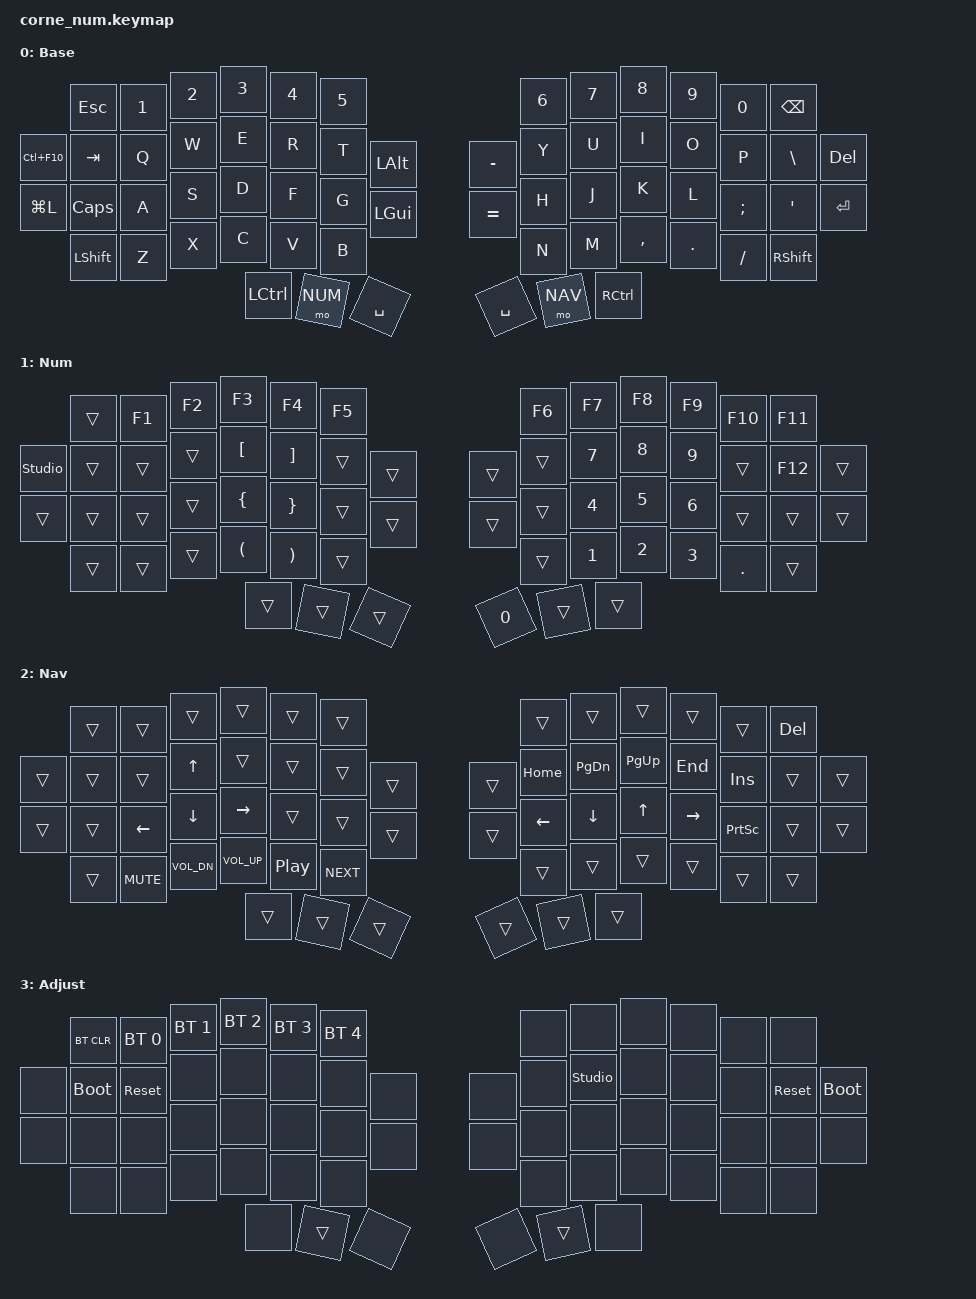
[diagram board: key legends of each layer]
/*
 * Corne Num v6 keymap: 62 keys (left 31, right 31).
 *   Num  (hold left thumb):  F1-F11 on the number row, F12 under F11, numpad on the right hand, brackets on the left
 *   Nav  (hold right thumb): Del on Bksp, arrows on W A S D and H J K L, Home/End/PgUp/PgDn, media on Z-B
 *   Adjust (hold Num + Nav): Bluetooth profiles, clear pairings, bootloader / reset on either half, U = ZMK Studio unlock
 *
 * Base extras: Ctrl+F10 and Win+L in the far-left column.
 *
 * Rows below follow the physical layout: each line is left half then right half.
 */

#include <behaviors.dtsi>
#include <dt-bindings/zmk/keys.h>
#include <dt-bindings/zmk/bt.h>

#define BASE   0
#define NUM    1
#define NAV    2
#define ADJUST 3

/ {
    conditional_layers {
        compatible = "zmk,conditional-layers";
        tri_layer {
            if-layers = <NUM NAV>;
            then-layer = <ADJUST>;
        };
    };

    keymap {
        compatible = "zmk,keymap";

        base_layer {
            display-name = "Base";
            bindings = <
   &kp ESC       &kp N1        &kp N2        &kp N3        &kp N4        &kp N5        &kp N6        &kp N7        &kp N8        &kp N9        &kp N0        &kp BSPC
   &kp LC(F10)   &kp TAB       &kp Q         &kp W         &kp E         &kp R         &kp T         &kp LALT      &kp MINUS     &kp Y         &kp U         &kp I         &kp O         &kp P         &kp BSLH      &kp DEL
   &kp LG(L)     &kp CAPS      &kp A         &kp S         &kp D         &kp F         &kp G         &kp LGUI      &kp EQUAL     &kp H         &kp J         &kp K         &kp L         &kp SEMI      &kp SQT       &kp RET
   &kp LSHFT     &kp Z         &kp X         &kp C         &kp V         &kp B         &kp N         &kp M         &kp COMMA     &kp DOT       &kp FSLH      &kp RSHFT
   &kp LCTRL     &mo NUM       &kp SPACE     &kp SPACE     &mo NAV       &kp RCTRL
            >;
        };

        num_layer {
            display-name = "Num";
            bindings = <
   &trans        &kp F1        &kp F2        &kp F3        &kp F4        &kp F5        &kp F6        &kp F7        &kp F8        &kp F9        &kp F10       &kp F11
   &studio_unlock &trans       &trans        &trans        &kp LBKT      &kp RBKT      &trans        &trans        &trans        &trans        &kp N7        &kp N8        &kp N9        &trans        &kp F12       &trans
   &trans        &trans        &trans        &trans        &kp LBRC      &kp RBRC      &trans        &trans        &trans        &trans        &kp N4        &kp N5        &kp N6        &trans        &trans        &trans
   &trans        &trans        &trans        &kp LPAR      &kp RPAR      &trans        &trans        &kp N1        &kp N2        &kp N3        &kp DOT       &trans
   &trans        &trans        &trans        &kp N0        &trans        &trans
            >;
        };

        nav_layer {
            display-name = "Nav";
            bindings = <
   &trans        &trans        &trans        &trans        &trans        &trans        &trans        &trans        &trans        &trans        &trans        &kp DEL
   &trans        &trans        &trans        &kp UP        &trans        &trans        &trans        &trans        &trans        &kp HOME      &kp PG_DN     &kp PG_UP     &kp END       &kp INS       &trans        &trans
   &trans        &trans        &kp LEFT      &kp DOWN      &kp RIGHT     &trans        &trans        &trans        &trans        &kp LEFT      &kp DOWN      &kp UP        &kp RIGHT     &kp PSCRN     &trans        &trans
   &trans        &kp C_MUTE    &kp C_VOL_DN  &kp C_VOL_UP  &kp C_PP      &kp C_NEXT    &trans        &trans        &trans        &trans        &trans        &trans
   &trans        &trans        &trans        &trans        &trans        &trans
            >;
        };

        adjust_layer {
            display-name = "Adjust";
            bindings = <
   &bt BT_CLR    &bt BT_SEL 0  &bt BT_SEL 1  &bt BT_SEL 2  &bt BT_SEL 3  &bt BT_SEL 4  &none         &none         &none         &none         &none         &none
   &none         &bootloader   &sys_reset    &none         &none         &none         &none         &none         &none         &none         &studio_unlock &none         &none         &none         &sys_reset    &bootloader
   &none         &none         &none         &none         &none         &none         &none         &none         &none         &none         &none         &none         &none         &none         &none         &none
   &none         &none         &none         &none         &none         &none         &none         &none         &none         &none         &none         &none
   &none         &trans        &none         &none         &trans        &none
            >;
        };
    };
};
